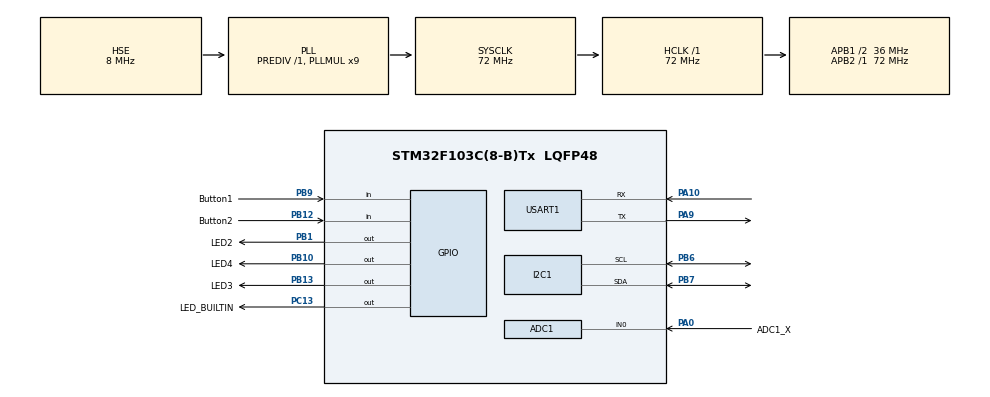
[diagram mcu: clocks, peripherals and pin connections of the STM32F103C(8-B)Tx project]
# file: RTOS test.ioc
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ADC1.Channel-0\#ChannelRegularConversion=ADC_CHANNEL_0
ADC1.NbrOfConversionFlag=1
ADC1.Rank-0\#ChannelRegularConversion=1
ADC1.SamplingTime-0\#ChannelRegularConversion=ADC_SAMPLETIME_1CYCLE_5
ADC1.master=1
FREERTOS.Tasks01=defaultTask,24,128,StartDefaultTask,Default,NULL,Dynamic,NULL,NULL;pickButtonTask,24,128,pickButton,Default,NULL,Dynamic,NULL,NULL;getADCTask,32,128,getADC,Default,NULL,Dynamic,NULL,NULL;ledLEVELTask,24,128,ledLEVEL,Default,NULL,Dynamic,NULL,NULL;dispUARTTask,24,128,dispUART,Default,NULL,Dynamic,NULL,NULL
FREERTOS.configTOTAL_HEAP_SIZE=3600
FREERTOS.configUSE_NEWLIB_REENTRANT=1
I2C1.I2C_Mode=I2C_Fast
Mcu.Family=STM32F1
Mcu.Name=STM32F103C(8-B)Tx
Mcu.Package=LQFP48
NVIC.PriorityGroup=NVIC_PRIORITYGROUP_4
NVIC.TIM4_IRQn=true\:15\:0\:false\:false\:true\:false\:false\:true\:true
NVIC.TimeBase=TIM4_IRQn
NVIC.TimeBaseIP=TIM4
PA0-WKUP.GPIO_Label=ADC1_X
PA0-WKUP.Signal=ADCx_IN0
PA10.Mode=Asynchronous
PA10.Signal=USART1_RX
PA13.Mode=Serial_Wire
PA13.Signal=SYS_JTMS-SWDIO
PA14.Mode=Serial_Wire
PA14.Signal=SYS_JTCK-SWCLK
PA9.Mode=Asynchronous
PA9.Signal=USART1_TX
PB1.GPIO_Label=LED2
PB1.Signal=GPIO_Output
PB10.GPIO_Label=LED4
PB10.Signal=GPIO_Output
PB12.GPIO_Label=Button2
PB12.GPIO_PuPd=GPIO_PULLUP
PB12.Signal=GPIO_Input
PB13.GPIO_Label=LED3
PB13.Signal=GPIO_Output
PB6.Mode=I2C
PB6.Signal=I2C1_SCL
PB7.Mode=I2C
PB7.Signal=I2C1_SDA
PB9.GPIO_Label=Button1
PB9.GPIO_PuPd=GPIO_PULLUP
PB9.Signal=GPIO_Input
PC13-TAMPER-RTC.GPIO_Label=LED_BUILTIN
PC13-TAMPER-RTC.Signal=GPIO_Output
PD0-OSC_IN.Mode=HSE-External-Oscillator
PD0-OSC_IN.Signal=RCC_OSC_IN
PD1-OSC_OUT.Mode=HSE-External-Oscillator
PD1-OSC_OUT.Signal=RCC_OSC_OUT
ProjectManager.HeapSize=0x200
ProjectManager.StackSize=0x400
ProjectManager.TargetToolchain=STM32CubeIDE
RCC.ADCPresc=RCC_ADCPCLK2_DIV6
RCC.AHBFreq_Value=72000000
RCC.APB1CLKDivider=RCC_HCLK_DIV2
RCC.APB1Freq_Value=36000000
RCC.APB1TimFreq_Value=72000000
RCC.APB2Freq_Value=72000000
RCC.APB2TimFreq_Value=72000000
RCC.HCLKFreq_Value=72000000
RCC.PLLMUL=RCC_PLL_MUL9
RCC.PLLSourceVirtual=RCC_PLLSOURCE_HSE
RCC.SYSCLKFreq_VALUE=72000000
RCC.SYSCLKSource=RCC_SYSCLKSOURCE_PLLCLK
RCC.USBFreq_Value=72000000
SH.ADCx_IN0.0=ADC1_IN0,IN0
USART1.VirtualMode=VM_ASYNC
VP_FREERTOS_VS_CMSIS_V2.Mode=CMSIS_V2
VP_SYS_VS_tim4.Mode=TIM4
board=custom

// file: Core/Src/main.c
/* USER CODE BEGIN Header */
/**
  ******************************************************************************
 * main.c
 * author:  Jonathan Burkley Rodriguez <superryuboy@yahoo.com>
	for Phipp's Electronics

	SSD1306 code:
 * original author:  Tilen Majerle<tilen@majerle.eu>
 * modification for STM32f10x: Alexander Lutsai<s.lyra@ya.ru>

   ----------------------------------------------------------------------
   	Copyright (C) Alexander Lutsai, 2016
    Copyright (C) Tilen Majerle, 2015

   ----------------------------------------------------------------------

    This program is free software: you can redistribute it and/or modify
    it under the terms of the GNU General Public License as published by
    the Free Software Foundation, either version 3 of the License, or
    any later version.

    This program is distributed in the hope that it will be useful,
    but WITHOUT ANY WARRANTY; without even the implied warranty of
    MERCHANTABILITY or FITNESS FOR A PARTICULAR PURPOSE.  See the
    GNU General Public License for more details.

    You should have received a copy of the GNU General Public License
    along with this program.  If not, see <http://www.gnu.org/licenses/>.
  ******************************************************************************
  */
/* USER CODE END Header */
#include "main.h"
#include "cmsis_os.h"

/* USER CODE BEGIN Includes */
//#include "test.h"
//#include "horse_anim.h"
/* USER CODE END Includes */

/* USER CODE BEGIN PD */
int x_val, button1_pressed;
uint8_t choice;
/* USER CODE END PD */

ADC_HandleTypeDef hadc1;

I2C_HandleTypeDef hi2c1;

UART_HandleTypeDef huart1;

/* Definitions for defaultTask */
osThreadId_t defaultTaskHandle;
const osThreadAttr_t defaultTask_attributes = {
  .name = "defaultTask",
  .stack_size = 128 * 4,
  .priority = (osPriority_t) osPriorityNormal,
};
/* Definitions for pickButtonTask */
osThreadId_t pickButtonTaskHandle;
const osThreadAttr_t pickButtonTask_attributes = {
  .name = "pickButtonTask",
  .stack_size = 128 * 4,
  .priority = (osPriority_t) osPriorityNormal,
};
/* Definitions for getADCTask */
osThreadId_t getADCTaskHandle;
const osThreadAttr_t getADCTask_attributes = {
  .name = "getADCTask",
  .stack_size = 128 * 4,
  .priority = (osPriority_t) osPriorityAboveNormal,
};
/* Definitions for ledLEVELTask */
osThreadId_t ledLEVELTaskHandle;
const osThreadAttr_t ledLEVELTask_attributes = {
  .name = "ledLEVELTask",
  .stack_size = 128 * 4,
  .priority = (osPriority_t) osPriorityNormal,
};
/* Definitions for dispUARTTask */
osThreadId_t dispUARTTaskHandle;
const osThreadAttr_t dispUARTTask_attributes = {
  .name = "dispUARTTask",
  .stack_size = 128 * 4,
  .priority = (osPriority_t) osPriorityNormal,
};

void SystemClock_Config(void);
static void MX_GPIO_Init(void);
static void MX_ADC1_Init(void);
static void MX_I2C1_Init(void);
static void MX_USART1_UART_Init(void);
void StartDefaultTask(void *argument);
void pickButton(void *argument);
void getADC(void *argument);
void ledLEVEL(void *argument);
void dispUART(void *argument);

/* USER CODE BEGIN PFP */
void Light_LED(){
	if(x_val < 4096/4){
			HAL_GPIO_WritePin(LED_BUILTIN_GPIO_Port, LED_BUILTIN_Pin, 1);
			HAL_GPIO_WritePin(LED2_GPIO_Port, LED2_Pin, 0);
			HAL_GPIO_WritePin(LED3_GPIO_Port, LED3_Pin, 0);
			HAL_GPIO_WritePin(LED4_GPIO_Port, LED4_Pin, 0);

		} else if(x_val < 4096*2/4){
			HAL_GPIO_WritePin(LED_BUILTIN_GPIO_Port, LED_BUILTIN_Pin, 1);
			HAL_GPIO_WritePin(LED2_GPIO_Port, LED2_Pin, 1);
			HAL_GPIO_WritePin(LED3_GPIO_Port, LED3_Pin, 0);
			HAL_GPIO_WritePin(LED4_GPIO_Port, LED4_Pin, 0);

		} else if(x_val < 4096*3/4){
			HAL_GPIO_WritePin(LED_BUILTIN_GPIO_Port, LED_BUILTIN_Pin, 1);
			HAL_GPIO_WritePin(LED2_GPIO_Port, LED2_Pin, 1);
			HAL_GPIO_WritePin(LED3_GPIO_Port, LED3_Pin, 1);
			HAL_GPIO_WritePin(LED4_GPIO_Port, LED4_Pin, 0);

		} else{
			HAL_GPIO_WritePin(LED_BUILTIN_GPIO_Port, LED_BUILTIN_Pin, 1);
			HAL_GPIO_WritePin(LED2_GPIO_Port, LED2_Pin, 1);
			HAL_GPIO_WritePin(LED3_GPIO_Port, LED3_Pin, 1);
			HAL_GPIO_WritePin(LED4_GPIO_Port, LED4_Pin, 1);
		} //else{
//			HAL_GPIO_WritePin(LED1_GPIO_Port, LED1_Pin, 1);
//			HAL_GPIO_WritePin(LED2_GPIO_Port, LED2_Pin, 1);
//			HAL_GPIO_WritePin(LED3_GPIO_Port, LED3_Pin, 1);
//			HAL_GPIO_WritePin(LED4_GPIO_Port, LED4_Pin, 1);
//			HAL_GPIO_WritePin(LED5_GPIO_Port, LED5_Pin, 1);
//		}
}

void Tf_LED(){
	HAL_GPIO_WritePin(LED_BUILTIN_GPIO_Port, LED_BUILTIN_Pin, 0);
	HAL_GPIO_WritePin(LED2_GPIO_Port, LED2_Pin, 0);
	HAL_GPIO_WritePin(LED3_GPIO_Port, LED3_Pin, 0);
	HAL_GPIO_WritePin(LED4_GPIO_Port, LED4_Pin, 0);
	//HAL_GPIO_WritePin(LED5_GPIO_Port, LED5_Pin, 0);
}

void Menu_Display(){
	char buffer[20] = "_";
	sprintf(buffer, "Voltage = %d\r\n",x_val);
	HAL_UART_Transmit(&huart1, buffer, sizeof(buffer), 20);
}
/* USER CODE END PFP */

int main(void)
{

  /* MCU Configuration--------------------------------------------------------*/

  /* Reset of all peripherals, Initializes the Flash interface and the Systick. */
  HAL_Init();

  /* USER CODE BEGIN Init */

	  // initialise
  /* USER CODE END Init */

  /* Configure the system clock */
  SystemClock_Config();

  /* Initialize all configured peripherals */
  MX_GPIO_Init();
  MX_ADC1_Init();
  MX_I2C1_Init();
  MX_USART1_UART_Init();

  /* Init scheduler */
  osKernelInitialize();

  /* Create the thread(s) */
  /* creation of defaultTask */
  defaultTaskHandle = osThreadNew(StartDefaultTask, NULL, &defaultTask_attributes);

  /* creation of pickButtonTask */
  pickButtonTaskHandle = osThreadNew(pickButton, NULL, &pickButtonTask_attributes);

  /* creation of getADCTask */
  getADCTaskHandle = osThreadNew(getADC, NULL, &getADCTask_attributes);

  /* creation of ledLEVELTask */
  ledLEVELTaskHandle = osThreadNew(ledLEVEL, NULL, &ledLEVELTask_attributes);

  /* creation of dispUARTTask */
  dispUARTTaskHandle = osThreadNew(dispUART, NULL, &dispUARTTask_attributes);

  /* Start scheduler */
  osKernelStart();

  /* We should never get here as control is now taken by the scheduler */

  /* Infinite loop */
  while (1)
  {

  }
}

void SystemClock_Config(void)
{
  RCC_OscInitTypeDef RCC_OscInitStruct = {0};
  RCC_ClkInitTypeDef RCC_ClkInitStruct = {0};
  RCC_PeriphCLKInitTypeDef PeriphClkInit = {0};

  /** Initializes the RCC Oscillators according to the specified parameters
  * in the RCC_OscInitTypeDef structure.
  */
  RCC_OscInitStruct.OscillatorType = RCC_OSCILLATORTYPE_HSE;
  RCC_OscInitStruct.HSEState = RCC_HSE_ON;
  RCC_OscInitStruct.HSEPredivValue = RCC_HSE_PREDIV_DIV1;
  RCC_OscInitStruct.HSIState = RCC_HSI_ON;
  RCC_OscInitStruct.PLL.PLLState = RCC_PLL_ON;
  RCC_OscInitStruct.PLL.PLLSource = RCC_PLLSOURCE_HSE;
  RCC_OscInitStruct.PLL.PLLMUL = RCC_PLL_MUL9;
  if (HAL_RCC_OscConfig(&RCC_OscInitStruct) != HAL_OK)
  {
    Error_Handler();
  }

  /** Initializes the CPU, AHB and APB buses clocks
  */
  RCC_ClkInitStruct.ClockType = RCC_CLOCKTYPE_HCLK|RCC_CLOCKTYPE_SYSCLK
                              |RCC_CLOCKTYPE_PCLK1|RCC_CLOCKTYPE_PCLK2;
  RCC_ClkInitStruct.SYSCLKSource = RCC_SYSCLKSOURCE_PLLCLK;
  RCC_ClkInitStruct.AHBCLKDivider = RCC_SYSCLK_DIV1;
  RCC_ClkInitStruct.APB1CLKDivider = RCC_HCLK_DIV2;
  RCC_ClkInitStruct.APB2CLKDivider = RCC_HCLK_DIV1;

  if (HAL_RCC_ClockConfig(&RCC_ClkInitStruct, FLASH_LATENCY_2) != HAL_OK)
  {
    Error_Handler();
  }
  PeriphClkInit.PeriphClockSelection = RCC_PERIPHCLK_ADC;
  PeriphClkInit.AdcClockSelection = RCC_ADCPCLK2_DIV6;
  if (HAL_RCCEx_PeriphCLKConfig(&PeriphClkInit) != HAL_OK)
  {
    Error_Handler();
  }
}

static void MX_ADC1_Init(void)
{

  ADC_ChannelConfTypeDef sConfig = {0};

  /** Common config
  */
  hadc1.Instance = ADC1;
  hadc1.Init.ScanConvMode = ADC_SCAN_DISABLE;
  hadc1.Init.ContinuousConvMode = DISABLE;
  hadc1.Init.DiscontinuousConvMode = DISABLE;
  hadc1.Init.ExternalTrigConv = ADC_SOFTWARE_START;
  hadc1.Init.DataAlign = ADC_DATAALIGN_RIGHT;
  hadc1.Init.NbrOfConversion = 1;
  if (HAL_ADC_Init(&hadc1) != HAL_OK)
  {
    Error_Handler();
  }

  /** Configure Regular Channel
  */
  sConfig.Channel = ADC_CHANNEL_0;
  sConfig.Rank = ADC_REGULAR_RANK_1;
  sConfig.SamplingTime = ADC_SAMPLETIME_1CYCLE_5;
  if (HAL_ADC_ConfigChannel(&hadc1, &sConfig) != HAL_OK)
  {
    Error_Handler();
  }

}

static void MX_I2C1_Init(void)
{

  hi2c1.Instance = I2C1;
  hi2c1.Init.ClockSpeed = 400000;
  hi2c1.Init.DutyCycle = I2C_DUTYCYCLE_2;
  hi2c1.Init.OwnAddress1 = 0;
  hi2c1.Init.AddressingMode = I2C_ADDRESSINGMODE_7BIT;
  hi2c1.Init.DualAddressMode = I2C_DUALADDRESS_DISABLE;
  hi2c1.Init.OwnAddress2 = 0;
  hi2c1.Init.GeneralCallMode = I2C_GENERALCALL_DISABLE;
  hi2c1.Init.NoStretchMode = I2C_NOSTRETCH_DISABLE;
  if (HAL_I2C_Init(&hi2c1) != HAL_OK)
  {
    Error_Handler();
  }

}

static void MX_USART1_UART_Init(void)
{

  huart1.Instance = USART1;
  huart1.Init.BaudRate = 115200;
  huart1.Init.WordLength = UART_WORDLENGTH_8B;
  huart1.Init.StopBits = UART_STOPBITS_1;
  huart1.Init.Parity = UART_PARITY_NONE;
  huart1.Init.Mode = UART_MODE_TX_RX;
  huart1.Init.HwFlowCtl = UART_HWCONTROL_NONE;
  huart1.Init.OverSampling = UART_OVERSAMPLING_16;
  if (HAL_UART_Init(&huart1) != HAL_OK)
  {
    Error_Handler();
  }

}

static void MX_GPIO_Init(void)
{
  GPIO_InitTypeDef GPIO_InitStruct = {0};

  /* GPIO Ports Clock Enable */
  __HAL_RCC_GPIOC_CLK_ENABLE();
  __HAL_RCC_GPIOD_CLK_ENABLE();
  __HAL_RCC_GPIOA_CLK_ENABLE();
  __HAL_RCC_GPIOB_CLK_ENABLE();

  /*Configure GPIO pin Output Level */
  HAL_GPIO_WritePin(LED_BUILTIN_GPIO_Port, LED_BUILTIN_Pin, GPIO_PIN_RESET);

  /*Configure GPIO pin Output Level */
  HAL_GPIO_WritePin(GPIOB, LED2_Pin|LED4_Pin|LED3_Pin, GPIO_PIN_RESET);

  /*Configure GPIO pin : LED_BUILTIN_Pin */
  GPIO_InitStruct.Pin = LED_BUILTIN_Pin;
  GPIO_InitStruct.Mode = GPIO_MODE_OUTPUT_PP;
  GPIO_InitStruct.Pull = GPIO_NOPULL;
  GPIO_InitStruct.Speed = GPIO_SPEED_FREQ_LOW;
  HAL_GPIO_Init(LED_BUILTIN_GPIO_Port, &GPIO_InitStruct);

  /*Configure GPIO pins : LED2_Pin LED4_Pin LED3_Pin */
  GPIO_InitStruct.Pin = LED2_Pin|LED4_Pin|LED3_Pin;
  GPIO_InitStruct.Mode = GPIO_MODE_OUTPUT_PP;
  GPIO_InitStruct.Pull = GPIO_NOPULL;
  GPIO_InitStruct.Speed = GPIO_SPEED_FREQ_LOW;
  HAL_GPIO_Init(GPIOB, &GPIO_InitStruct);

  /*Configure GPIO pins : Button2_Pin Button1_Pin */
  GPIO_InitStruct.Pin = Button2_Pin|Button1_Pin;
  GPIO_InitStruct.Mode = GPIO_MODE_INPUT;
  GPIO_InitStruct.Pull = GPIO_PULLUP;
  HAL_GPIO_Init(GPIOB, &GPIO_InitStruct);

}

void StartDefaultTask(void *argument)
{
  for(;;)
  {
    osDelay(1);
  }
}

void pickButton(void *argument)
{
  /* USER CODE BEGIN pickButton */
  /* Infinite loop */
  for(;;)
  {

	  if(HAL_GPIO_ReadPin(Button1_GPIO_Port, Button1_Pin) == GPIO_PIN_RESET)
	  {
		  osDelay(300);	// debounce
		  button1_pressed = 1;
	  }	  else button1_pressed = 0;

	  //if(HAL_GPIO_ReadPin(Button2_GPIO_Port, Button2_Pin) == GPIO_PIN_RESET)
	  //{
		//  osDelay(300);	// debounce
		 // button2_pressed = 1;
	  //}

    osDelay(100);
  }
  /* USER CODE END pickButton */
}

void getADC(void *argument)
{
  /* USER CODE BEGIN getADC */
  /* Infinite loop */
  for(;;)
  {

	  HAL_ADC_Start(&hadc1);
	  HAL_ADC_PollForConversion(&hadc1, 10);
	  x_val = (HAL_ADC_GetValue(&hadc1));
	  HAL_ADC_Stop(&hadc1);

	  // process ADC values here

    osDelay(100);
  }
  /* USER CODE END getADC */
}

void ledLEVEL(void *argument)
{
  /* USER CODE BEGIN ledLEVEL */
  /* Infinite loop */
	while(1)
	  {
		  if(button1_pressed == 1){
				Light_LED();
				osDelay(300);
				Tf_LED();
				osDelay(300);
			}
			else Light_LED();
	  }
  /* USER CODE END ledLEVEL */
}

void dispUART(void *argument)
{
  /* USER CODE BEGIN dispUART */
  /* Infinite loop */
	Menu_Display();
		char buffer2[20] = "_";

		  for(;;)
		  {
			  // select user input
			  if (HAL_UART_Receive(&huart1, &choice, sizeof(choice), 10) == HAL_OK)
			  {
				switch (choice) {

					case '1':
						//HAL_UART_Transmit(&huart1, (uint8_t*)"2 pressed\r\n", sizeof("1 pressed\r\n"), 10);
						sprintf(buffer2, "Voltage = %d\r\n",x_val);
						HAL_UART_Transmit(&huart1, buffer2, sizeof(buffer2), 20);
						break;
					case '2':
						Menu_Display();
						break;
					default:
						break;
				}
			  }else{

			  }

			  if(button1_pressed)
			  {
				  HAL_UART_Transmit(&huart1, (uint8_t*)"Button1 pressed\r\n", sizeof("Button1 pressed\r\n"), 10);
	//			  button1_pressed = 0;
			  }

		//		  if(button2_pressed)
		//		  {
		//			  HAL_UART_Transmit(&huart1, (uint8_t*)"Button2 pressed\r\n", sizeof("Button2 pressed\r\n"), 10);
		//			  button2_pressed = 0;
		//		  }

			osDelay(100);
		  }
  /* USER CODE END dispUART */
}

void HAL_TIM_PeriodElapsedCallback(TIM_HandleTypeDef *htim)
{
  if (htim->Instance == TIM4) {
    HAL_IncTick();
  }
}

void Error_Handler(void)
{
  __disable_irq();
  while (1)
  {
  }
}
